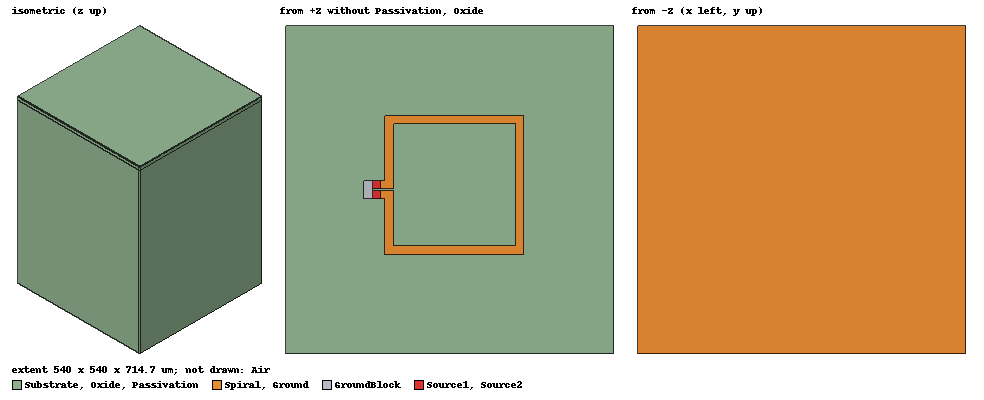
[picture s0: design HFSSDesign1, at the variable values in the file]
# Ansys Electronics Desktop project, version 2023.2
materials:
  vacuum: permittivity=1
  silicon_dioxide: permittivity=4
  My_Pass: permittivity=7.9
  My_Sub: permittivity=11.9 conductivity=10
  pec: conductivity=1e+30
  copper: permeability=0.999991 conductivity=58000000

design HFSSDesign1 (HFSS, HFSS Terminal Network, model units um)
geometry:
  Substrate [My_Sub] = box(corner=(-270um, -270um, 0um), size=(540um, 540um, 700um))
  Oxide [silicon_dioxide] = box(corner=(-270um, -270um, 700um), size=(540um, 540um, 14um))
  Passivation [My_Pass] = box(corner=(-270um, -270um, 714um), size=(540um, 540um, 0.7um))
  Air [vacuum] = box(corner=(-270um, -270um, 0um), size=(540um, 540um, 1100um))
  Ground = rectangle(corner=(-270um, -270um, 0um), x_size=540um, y_size=540um)
  coordinate_system RelativeCS1 = origin=(0um, 0um, 705.1um) x=(1um, 0um, 0um) y=(0um, 1um, 0um)
  Spiral [copper] = polyline(z=1.65um, xy in um: (-113.5, -8) (-99.5, -8) (-99.5, -99.5) (115.5, -99.5) (115.5, 115.5) (-99.5, 115.5) (-99.5, 8) (-113.5, 8), section rectangle width=14um height=3.3um) in RelativeCS1
  Source1 = rectangle(corner=(-113.5um, 1um, 1.65um), x_size=-14um, y_size=14um) in RelativeCS1
  Source2 = rectangle(corner=(-113.5um, -1um, 1.65um), x_size=-14um, y_size=-14um) in RelativeCS1
  GroundBlock [pec] = box(corner=(-127.5um, -15um, 0um), size=(-14um, 30um, 3.3um)) in RelativeCS1
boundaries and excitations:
  Rad1: Radiation Objects=Air
  PerfE_Ground: Perfect E Objects=Ground
  Source1_T1: Terminal port=1 Edges=Source1.edge(at (-113.5, 8, 706.75)) TerminalResistance=50ohm
  Source2_T1: Terminal port=2 Edges=Source2.edge(at (-113.5, -8, 706.75)) TerminalResistance=50ohm
  1: Lumped Port Faces=Source1.face LumpedPortType=Terminal Impedance=50ohm
  2: Lumped Port Faces=Source2.face LumpedPortType=Terminal Impedance=50ohm
  reference conductors: GroundBlock
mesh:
  Length1: LengthBased RefineInside Objects=Spiral NumMaxElem=5000 MaxLength=54.6um
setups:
  Setup1: HfssDriven Frequency=12GHz MaxDeltaS=0.01 MaximumPasses=20 MinimumPasses=1 MinimumConvergedPasses=1 PercentRefinement=30 BasisOrder=-1 PortAccuracy=2 DrivenSolverType="Direct Solver"
    sweep Sweep: 1GHz to 150GHz step 0.1GHz; Type=Interpolating InterpTolerance=0.3 InterpMaxSolns=250 PassivityErrorTolerance=0.0001
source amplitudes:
  1:1: 1V 0deg
  2:1: 0V 0deg
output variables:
  L_ind = im(1/Yt(Source1_T1,Source1_T1))/(2*pi*Freq)
  Q_ind = im(1/Yt(Source1_T1,Source1_T1))/re(1/Yt(Source1_T1,Source1_T1))
  R_ind = re(1/Yt(Source1_T1,Source1_T1))
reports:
  Terminal S Parameter Plot 1: dB(St(Source1_T1,Source1_T1)), dB(St(Source1_T1,Source2_T1)) vs Freq on Setup1 : Sweep
  Output Variables Plot 3: Q_ind vs Freq on Setup1 : Sweep
  Output Variables Plot 4: L_ind vs Freq on Setup1 : Sweep
  Output Variables Plot 5: R_ind vs Freq on Setup1 : Sweep
